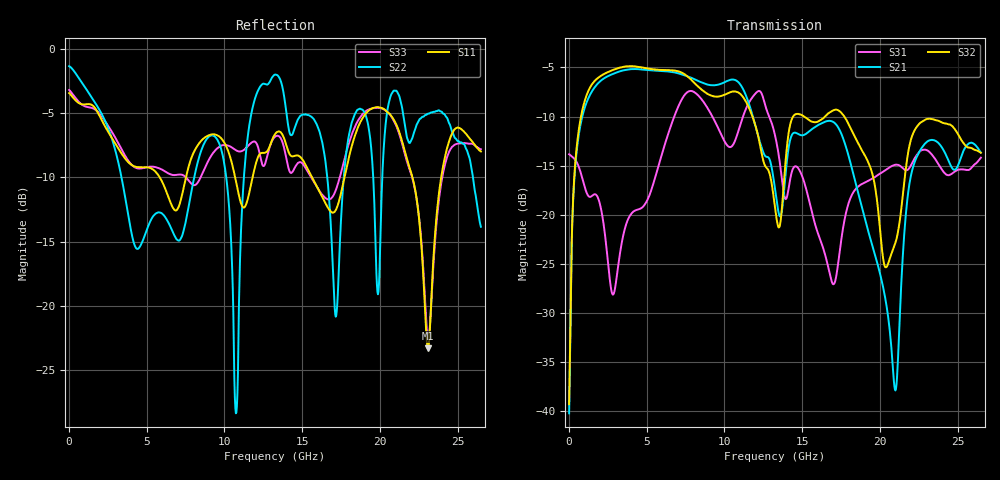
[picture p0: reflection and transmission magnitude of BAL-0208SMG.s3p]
! MARKI MICROWAVE INC.
! Email:  info@markimicrowave.com  Phone:  408-778-4200
! Model Number:  BAL-0208  Date:  10/14
! Filename:		BAL-0208SMG.S3P  Version: 1.0
! Description:  3-port S-parameter data for Balun BAL-0208SMG
! Frequency Range: 	10 MHz to 26.5 GHz
! Port Configuration:	PORT 1: OUTPUT (0 DEGREE), PORT 2: OUTPUT (180 DEGREE), PORT 3: COMMON
! S3P File: Measurements: Mag<S11> Ang<S11> Mag<S12> Ang<S12> Mag<S13> Ang<S13>! row 1
!  Mag<S21> Ang<S21> Mag<S22> Ang<S22> Mag<S23> Ang<S23>! row 2
!  Mag<S31> Ang<S31> Mag<S32> Ang<S32> Mag<S33> Ang<S33>! row 3
# Hz S  dB  R 50
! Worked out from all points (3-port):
!   801 points, 10 MHz to 26.5 GHz, reference 50 ohm
!   strongest paths, dB at 10 MHz, 6.633 GHz, 13.26 GHz, 19.88 GHz, 26.5 GHz:
!     S32: -39.3, -5.3, -19.2, -19.4, -13.7
!     S21: -40.3, -5.5, -17.4, -25.2, -13.7
!     S31: -13.9, -10.6, -11.9, -16.0, -14.2
!   lowest |S11| = -23.3 dB at 23.09 GHz (marker M1), VSWR 1.15, Z = 57.3 - j0.598 ohm
!   |S11| at or under -10 dB: 5.844 GHz to 7.527 GHz (1.682 GHz wide, 25.2 % of centre); 15.64 GHz to 17.72 GHz (2.081 GHz wide, 12.5 % of centre); 22.1 GHz to 23.94 GHz (1.846 GHz wide, 8.02 % of centre)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
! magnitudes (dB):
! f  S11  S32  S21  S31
! 10 MHz  -3.4  -39.3  -40.3  -13.9
! 473.6 MHz  -4.1  -13.5  -13.9  -14.6
! 1.831 GHz  -4.9  -6.1  -6.7  -18.2
! 9.613 GHz  -6.8  -8.0  -6.7  -11.2
! 10.74 GHz  -10.3  -7.5  -6.3  -12.3
! 13.26 GHz  -6.6  -19.2  -17.4  -11.9
! 17.16 GHz  -12.5  -9.3  -10.8  -26.6
! 21 GHz  -5.7  -22.9  -37.9  -14.9
! 23.09 GHz  -23.3  -10.2  -12.5  -13.5
! 26.5 GHz  -8.0  -13.7  -13.7  -14.2
